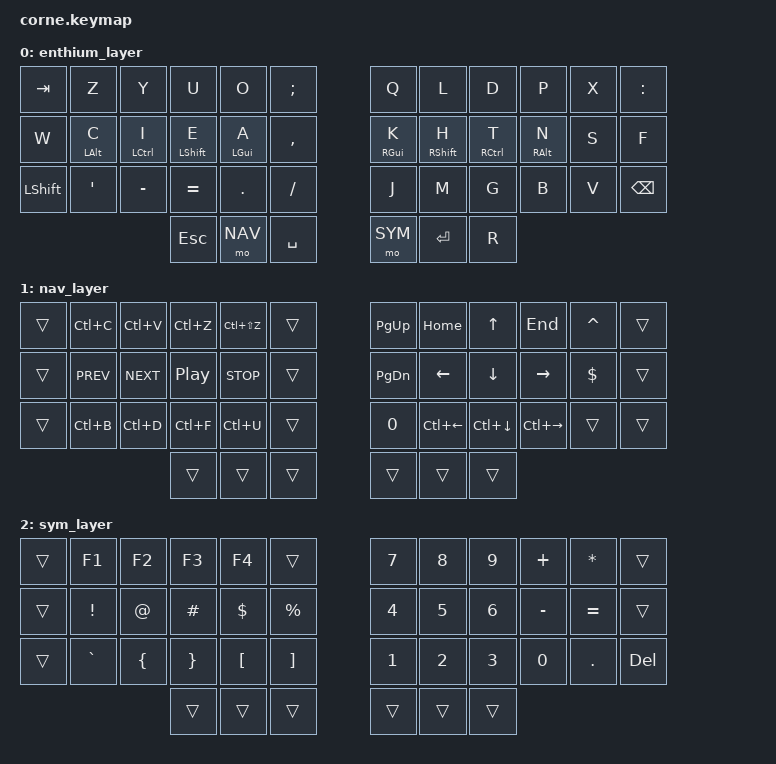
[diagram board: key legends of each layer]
#include <behaviors.dtsi>
#include <dt-bindings/zmk/keys.h>
#include <dt-bindings/zmk/bt.h>

// Define layers
#define ENTHIUM 0
#define NAV 1
#define SYM 2

// Home Row Mods Configuration
/ {
    behaviors {
        hm_l: homerow_mods_left {
            compatible = "zmk,behavior-hold-tap";
            label = "HOMEROW_MODS_LEFT";
            #binding-cells = <2>;
            tapping-term-ms = <280>;
            quick-tap-ms = <175>;
            flavor = "tap-preferred";
            bindings = <&kp>, <&kp>;
        };
        hm_r: homerow_mods_right {
            compatible = "zmk,behavior-hold-tap";
            label = "HOMEROW_MODS_RIGHT";
            #binding-cells = <2>;
            tapping-term-ms = <280>;
            quick-tap-ms = <175>;
            flavor = "tap-preferred";
            bindings = <&kp>, <&kp>;
        };
    };
};

/ {
    keymap {
        compatible = "zmk,keymap";

        enthium_layer {  // ENTHIUM 0
            bindings = <
&kp TAB    &kp Z          &kp Y          &kp U           &kp O          &kp SEMI     &kp Q          &kp L           &kp D          &kp P          &kp X      &kp COLON
&kp W      &hm_l LALT C   &hm_l LCTL I   &hm_l LSHFT E   &hm_l LGUI A   &kp COMMA    &hm_r RGUI K   &hm_r RSHFT H   &hm_r RCTL T   &hm_r RALT N   &kp S      &kp F
&kp LSHFT  &kp SQT        &kp MINUS      &kp EQUAL       &kp DOT        &kp FSLH     &kp J          &kp M           &kp G          &kp B          &kp V      &kp BSPC
                                         &kp ESC         &mo NAV        &kp SPACE    &mo SYM        &kp ENTER       &kp R
            >;
        };

        nav_layer {  // NAV 1
            bindings = <
&trans  &kp LC(C)   &kp LC(V)   &kp LC(Z)      &kp LC(LS(Z))  &trans    &kp PG_UP  &kp HOME      &kp UP        &kp END        &kp CARET  &trans
&trans  &kp C_PREV  &kp C_NEXT  &kp C_PP       &kp C_STOP     &trans    &kp PG_DN  &kp LEFT      &kp DOWN      &kp RIGHT      &kp DLLR   &trans
&trans  &kp LC(B)   &kp LC(D)   &kp LC(F)      &kp LC(U)      &trans    &kp N0     &kp LC(LEFT)  &kp LC(DOWN)  &kp LC(RIGHT)  &trans     &trans
                                &trans         &trans         &trans    &trans     &trans        &trans
            >;
        };

        sym_layer {  // SYM 2
            bindings = <
&trans  &kp F1     &kp F2    &kp F3    &kp F4    &trans      &kp N7  &kp N8     &kp N9     &kp PLUS   &kp ASTRK  &trans
&trans  &kp EXCL   &kp AT    &kp HASH  &kp DLLR  &kp PRCNT   &kp N4  &kp N5     &kp N6     &kp MINUS  &kp EQUAL  &trans
&trans  &kp GRAVE  &kp LBRC  &kp RBRC  &kp LBKT  &kp RBKT    &kp N1  &kp N2     &kp N3     &kp N0     &kp DOT    &kp DEL
                             &trans    &trans    &trans      &trans  &trans     &trans
            >;
        };
    };
};
